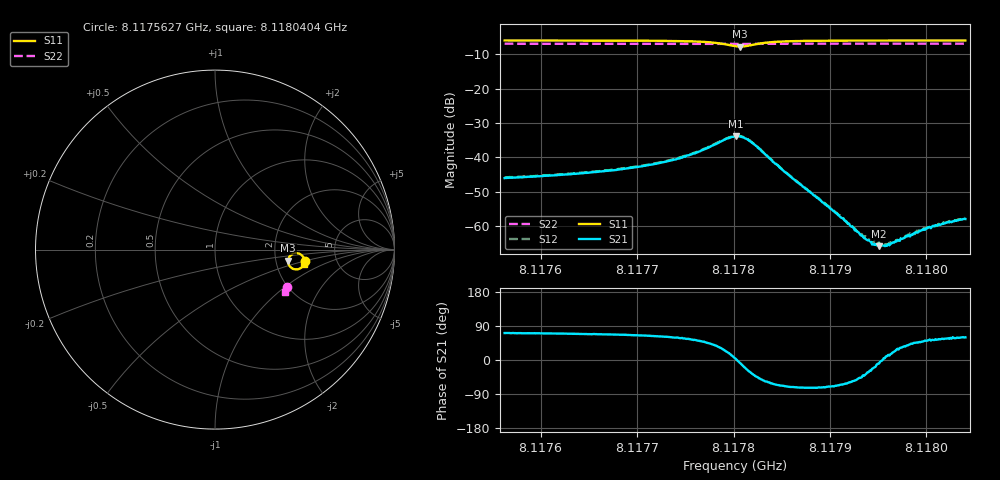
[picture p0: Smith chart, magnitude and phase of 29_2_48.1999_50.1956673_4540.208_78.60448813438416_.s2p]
#  HZ  S  RI  R  50.00
! Rohde & Schwarz Vector Network Analyzer
! Rohde-Schwarz,ZNB20-2Port,1311601062101988,3.16
! Created: UTC 3/20/2024, 11:37:17 AM
! freq[Hz]  re:S11  im:S11  re:S21  im:S21  re:S12  im:S12  re:S22  im:S22
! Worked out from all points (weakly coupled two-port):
!   401 points, 8.1175627 GHz to 8.1180404 GHz, reference 50 ohm
!   highest |S21| = -33.78 dB at 8.1178027 GHz (marker M1); lowest = -65.8 dB at 8.1179508 GHz (marker M2)
!   lowest |S11| = -7.7 dB at 8.1178063 GHz (marker M3), VSWR 2.40, Z = 117 - j17.4 ohm
!   |S11| at or under -10 dB: nowhere
!   |S22| runs from -7.0 to -6.9 dB; largest |S21 - S12| = 0.0006
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8.11756269e9  0.5009 -0.0638  0.00162 0.00474  0.00169 0.00484  0.4027 -0.2061
8.1176427e9  0.4984 -0.0736  0.00213 0.00549  0.00219 0.00559  0.4002 -0.2113
8.11767973e9  0.4964 -0.0796  0.00263 0.00612  0.00273 0.00619  0.3989 -0.2137
8.11772272e9  0.4913 -0.0894  0.00382 0.00732  0.00394 0.00744  0.3972 -0.2166
8.11775616e9  0.4798 -0.1014  0.00649 0.00892  0.00668 0.00905  0.3958 -0.219
8.11778602e9  0.4434 -0.1095  0.0142 0.00898  0.0146 0.00908  0.3931 -0.2208
8.11780154e9  0.4098 -0.0803  0.0203 0.00161  0.0206 0.00133  0.3916 -0.22
8.11780274e9  0.4085 -0.0758  0.0204 0.000783  0.0206 0.000368  0.3917 -0.2199
8.11780632e9  0.4073 -0.0616  0.0202 -0.00234  0.0204 -0.00269  0.3915 -0.2194
8.11781468e9  0.421 -0.0324  0.0163 -0.00828  0.0164 -0.00858  0.3922 -0.2188
8.11782185e9  0.4414 -0.0209  0.0116 -0.01  0.0116 -0.0102  0.3932 -0.2192
8.11785051e9  0.4865 -0.0346  0.00251 -0.00615  0.00249 -0.00626  0.394 -0.2218
8.11788156e9  0.4963 -0.0513  0.00086 -0.00284  0.000825 -0.00291  0.3932 -0.2245
8.11791142e9  0.4986 -0.0609  0.000566 -0.00121  0.000522 -0.00127  0.3923 -0.2267
8.11793172e9  0.4989 -0.0655  0.000504 -0.00054  0.000542 -0.000533  0.3916 -0.2282
8.11794366e9  0.499 -0.0677  0.000497 -0.000212  0.000539 -0.000227  0.3913 -0.2289
8.11795083e9  0.499 -0.0691  0.000504 -8.34e-05  0.000568 -0.000101  0.391 -0.2293
8.11795799e9  0.4991 -0.0702  0.000511 8.7e-05  0.000542 9.13e-05  0.3907 -0.2298
8.11796158e9  0.4991 -0.0708  0.000515 0.000108  0.000554 0.000147  0.3907 -0.2299
8.11800099e9  0.4987 -0.0764  0.000584 0.000727  0.000624 0.000728  0.3893 -0.2325
8.11802248e9  0.4985 -0.0791  0.000621 0.00097  0.000646 0.000963  0.3885 -0.234
8.1180404e9  0.4983 -0.0811  0.000638 0.0011  0.000662 0.00115  0.3879 -0.2352
